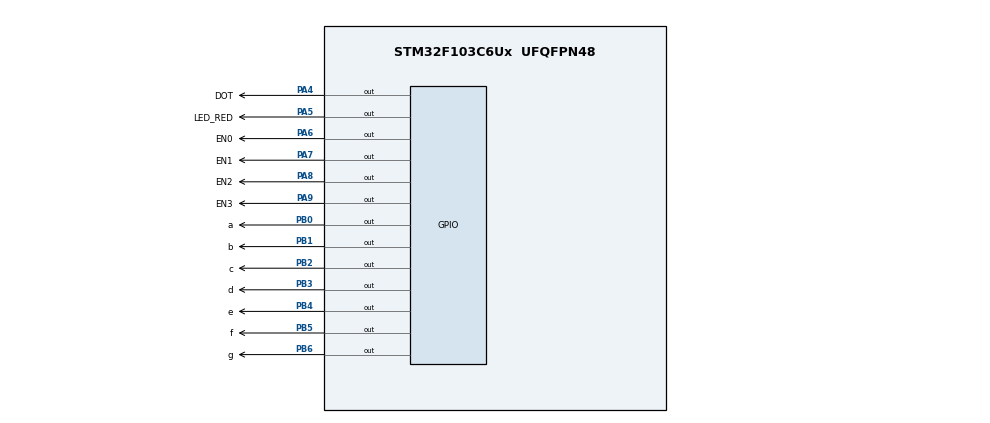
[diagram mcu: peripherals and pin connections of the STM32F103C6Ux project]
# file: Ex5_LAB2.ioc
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Mcu.Family=STM32F1
Mcu.Name=STM32F103C6Ux
Mcu.Package=UFQFPN48
NVIC.PriorityGroup=NVIC_PRIORITYGROUP_4
NVIC.TIM2_IRQn=true\:0\:0\:false\:false\:true\:true\:true
PA4.GPIO_Label=DOT
PA4.PinState=GPIO_PIN_SET
PA4.Signal=GPIO_Output
PA5.GPIO_Label=LED_RED
PA5.Signal=GPIO_Output
PA6.GPIO_Label=EN0
PA6.Signal=GPIO_Output
PA7.GPIO_Label=EN1
PA7.Signal=GPIO_Output
PA8.GPIO_Label=EN2
PA8.Signal=GPIO_Output
PA9.GPIO_Label=EN3
PA9.Signal=GPIO_Output
PB0.GPIO_Label=a
PB0.Signal=GPIO_Output
PB1.GPIO_Label=b
PB1.Signal=GPIO_Output
PB2.GPIO_Label=c
PB2.Signal=GPIO_Output
PB3.GPIO_Label=d
PB3.Signal=GPIO_Output
PB4.GPIO_Label=e
PB4.Signal=GPIO_Output
PB5.GPIO_Label=f
PB5.Signal=GPIO_Output
PB6.GPIO_Label=g
PB6.Signal=GPIO_Output
ProjectManager.HeapSize=0x200
ProjectManager.StackSize=0x400
ProjectManager.TargetToolchain=STM32CubeIDE
RCC.APB1Freq_Value=8000000
RCC.APB2Freq_Value=8000000
TIM2.Period=9
TIM2.Prescaler=7999
VP_SYS_VS_ND.Mode=No_Debug
VP_TIM2_VS_ClockSourceINT.Mode=Internal
board=custom

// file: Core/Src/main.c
/* USER CODE BEGIN Header */
/**
  ******************************************************************************
  * @file           : main.c
  * @brief          : Main program body
  ******************************************************************************
  * @attention
  *
  * <h2><center>&copy; Copyright (c) 2022 STMicroelectronics.
  * All rights reserved.</center></h2>
  *
  * This software component is licensed by ST under BSD 3-Clause license,
  * the "License"; You may not use this file except in compliance with the
  * License. You may obtain a copy of the License at:
  *                        opensource.org/licenses/BSD-3-Clause
  *
  ******************************************************************************
  */
/* USER CODE END Header */
#include "main.h"

/* USER CODE BEGIN Includes */
#include "software_timer.h"
/* USER CODE END Includes */

/* USER CODE BEGIN PD */
#define setCounterDot 100
#define setCounter 50
#define MAX_LED 4
/* USER CODE END PD */

TIM_HandleTypeDef htim2;

void SystemClock_Config(void);
static void MX_GPIO_Init(void);
static void MX_TIM2_Init(void);

/* USER CODE BEGIN 0 */

static uint8_t led_buffer[MAX_LED] = {0, 0, 0, 0};
static uint8_t index_led = 0;
void updateClockBuffer(int hr, int min){
	led_buffer[0] = hr/10;
	led_buffer[1] = hr%10;
	led_buffer[2] = min/10;
	led_buffer[3] = min%10;
}

//Transfer sequence: gfedcba
//MSB=g, LSB=a <- Active low
//Ex: To display 0 -> sequence = 1000000
const uint8_t sevenSegTable[10] = {
		  0x40 //0
		, 0x79 //1
		, 0x24 //2
		, 0x30 //3
		, 0x19 //4
		, 0x12 //5
		, 0x02 //6
		, 0x78 //7
		, 0x00 //8
		, 0x10 /*9*/};

void display7SEG (int num){
	HAL_GPIO_WritePin(GPIOB, GPIO_PIN_0, ((sevenSegTable[num]>>0)&0x01));
	HAL_GPIO_WritePin(GPIOB, GPIO_PIN_1, ((sevenSegTable[num]>>1)&0x01));
	HAL_GPIO_WritePin(GPIOB, GPIO_PIN_2, ((sevenSegTable[num]>>2)&0x01));
	HAL_GPIO_WritePin(GPIOB, GPIO_PIN_3, ((sevenSegTable[num]>>3)&0x01));
	HAL_GPIO_WritePin(GPIOB, GPIO_PIN_4, ((sevenSegTable[num]>>4)&0x01));
	HAL_GPIO_WritePin(GPIOB, GPIO_PIN_5, ((sevenSegTable[num]>>5)&0x01));
	HAL_GPIO_WritePin(GPIOB, GPIO_PIN_6, ((sevenSegTable[num]>>6)&0x01));
}

void update7SEG (int index){
	switch (index){
		case 0:
			HAL_GPIO_WritePin(EN0_GPIO_Port, EN0_Pin, RESET);
			HAL_GPIO_WritePin(EN1_GPIO_Port, EN1_Pin, SET);
			HAL_GPIO_WritePin(EN2_GPIO_Port, EN2_Pin, SET);
			HAL_GPIO_WritePin(EN3_GPIO_Port, EN3_Pin, SET);
			break;
		case 1:
			HAL_GPIO_WritePin(EN0_GPIO_Port, EN0_Pin, SET);
			HAL_GPIO_WritePin(EN1_GPIO_Port, EN1_Pin, RESET);
			HAL_GPIO_WritePin(EN2_GPIO_Port, EN2_Pin, SET);
			HAL_GPIO_WritePin(EN3_GPIO_Port, EN3_Pin, SET);
			break;
		case 2:
			HAL_GPIO_WritePin(EN0_GPIO_Port, EN0_Pin, SET);
			HAL_GPIO_WritePin(EN1_GPIO_Port, EN1_Pin, SET);
			HAL_GPIO_WritePin(EN2_GPIO_Port, EN2_Pin, RESET);
			HAL_GPIO_WritePin(EN3_GPIO_Port, EN3_Pin, SET);
			break;
		case 3:
			HAL_GPIO_WritePin(EN0_GPIO_Port, EN0_Pin, SET);
			HAL_GPIO_WritePin(EN1_GPIO_Port, EN1_Pin, SET);
			HAL_GPIO_WritePin(EN2_GPIO_Port, EN2_Pin, SET);
			HAL_GPIO_WritePin(EN3_GPIO_Port, EN3_Pin, RESET);
			break;
		default:
			break;
	}
	display7SEG(led_buffer[index]);
}

//static uint16_t counter = setCounter;
//static uint16_t counterDot = setCounterDot;

/* Ex5 */
/*void systemRun(void){
	counter--;
	counterDot--;
	if (counter <= 0){
		counter = setCounter;
		HAL_GPIO_TogglePin(LED_RED_GPIO_Port, LED_RED_Pin);
		update7SEG(index_led);
		index_led = (index_led + 1) % MAX_LED;
	}
	if (counterDot <= 0){
		counterDot = setCounterDot;
		HAL_GPIO_TogglePin(DOT_GPIO_Port, DOT_Pin);
	}
}*/

/* Ex7 */
/*void systemRun(void){
	counter--;
	if (counter <= 0){
		counter = setCounter;
		HAL_GPIO_TogglePin(LED_RED_GPIO_Port, LED_RED_Pin);
		update7SEG(index_led);
		index_led = (index_led + 1) % MAX_LED;
	}
}*/
/* USER CODE END 0 */

int main(void)
{

  /* MCU Configuration--------------------------------------------------------*/

  /* Reset of all peripherals, Initializes the Flash interface and the Systick. */
  HAL_Init();

  /* Configure the system clock */
  SystemClock_Config();

  /* Initialize all configured peripherals */
  MX_GPIO_Init();
  MX_TIM2_Init();
  /* USER CODE BEGIN 2 */
  HAL_TIM_Base_Start_IT (& htim2 ) ;
  /* USER CODE END 2 */

  /* Infinite loop */
  /* USER CODE BEGIN WHILE */
  int hr = 21, min=31, sec = 56;
  updateClockBuffer(hr, min);
  setTimer1(setCounterDot);
  setTimer2(setCounter);
  setTimer3(setCounterDot);
  while (1)
  {
	if (timer1_flag == 1){
	  	sec++;
		if (sec >= 60){sec = 0; min++;}
		if (min >= 60){min = 0; hr++;}
		if (hr >= 24) {hr = 0;}
		updateClockBuffer(hr, min);
		setTimer1(setCounterDot);
		//Ex5
		//HAL_Delay(1000);
	}

	//Ex8
	if (timer2_flag == 1){
		HAL_GPIO_TogglePin(LED_RED_GPIO_Port, LED_RED_Pin);
		update7SEG(index_led);
		index_led = (index_led + 1) % MAX_LED;
		setTimer2(setCounter);
	}

	//Ex7
	if (timer3_flag == 1){
		HAL_GPIO_TogglePin(DOT_GPIO_Port,DOT_Pin);
		setTimer3(setCounterDot);
	}
    /* USER CODE END WHILE */

  }
}

void SystemClock_Config(void)
{
  RCC_OscInitTypeDef RCC_OscInitStruct = {0};
  RCC_ClkInitTypeDef RCC_ClkInitStruct = {0};

  /** Initializes the RCC Oscillators according to the specified parameters
  * in the RCC_OscInitTypeDef structure.
  */
  RCC_OscInitStruct.OscillatorType = RCC_OSCILLATORTYPE_HSI;
  RCC_OscInitStruct.HSIState = RCC_HSI_ON;
  RCC_OscInitStruct.HSICalibrationValue = RCC_HSICALIBRATION_DEFAULT;
  RCC_OscInitStruct.PLL.PLLState = RCC_PLL_NONE;
  if (HAL_RCC_OscConfig(&RCC_OscInitStruct) != HAL_OK)
  {
    Error_Handler();
  }
  /** Initializes the CPU, AHB and APB buses clocks
  */
  RCC_ClkInitStruct.ClockType = RCC_CLOCKTYPE_HCLK|RCC_CLOCKTYPE_SYSCLK
                              |RCC_CLOCKTYPE_PCLK1|RCC_CLOCKTYPE_PCLK2;
  RCC_ClkInitStruct.SYSCLKSource = RCC_SYSCLKSOURCE_HSI;
  RCC_ClkInitStruct.AHBCLKDivider = RCC_SYSCLK_DIV1;
  RCC_ClkInitStruct.APB1CLKDivider = RCC_HCLK_DIV1;
  RCC_ClkInitStruct.APB2CLKDivider = RCC_HCLK_DIV1;

  if (HAL_RCC_ClockConfig(&RCC_ClkInitStruct, FLASH_LATENCY_0) != HAL_OK)
  {
    Error_Handler();
  }
}

static void MX_TIM2_Init(void)
{

  TIM_ClockConfigTypeDef sClockSourceConfig = {0};
  TIM_MasterConfigTypeDef sMasterConfig = {0};

  htim2.Instance = TIM2;
  htim2.Init.Prescaler = 7999;
  htim2.Init.CounterMode = TIM_COUNTERMODE_UP;
  htim2.Init.Period = 9;
  htim2.Init.ClockDivision = TIM_CLOCKDIVISION_DIV1;
  htim2.Init.AutoReloadPreload = TIM_AUTORELOAD_PRELOAD_DISABLE;
  if (HAL_TIM_Base_Init(&htim2) != HAL_OK)
  {
    Error_Handler();
  }
  sClockSourceConfig.ClockSource = TIM_CLOCKSOURCE_INTERNAL;
  if (HAL_TIM_ConfigClockSource(&htim2, &sClockSourceConfig) != HAL_OK)
  {
    Error_Handler();
  }
  sMasterConfig.MasterOutputTrigger = TIM_TRGO_RESET;
  sMasterConfig.MasterSlaveMode = TIM_MASTERSLAVEMODE_DISABLE;
  if (HAL_TIMEx_MasterConfigSynchronization(&htim2, &sMasterConfig) != HAL_OK)
  {
    Error_Handler();
  }

}

static void MX_GPIO_Init(void)
{
  GPIO_InitTypeDef GPIO_InitStruct = {0};

  /* GPIO Ports Clock Enable */
  __HAL_RCC_GPIOA_CLK_ENABLE();
  __HAL_RCC_GPIOB_CLK_ENABLE();

  /*Configure GPIO pin Output Level */
  HAL_GPIO_WritePin(DOT_GPIO_Port, DOT_Pin, GPIO_PIN_SET);

  /*Configure GPIO pin Output Level */
  HAL_GPIO_WritePin(GPIOA, LED_RED_Pin|EN0_Pin|EN1_Pin|EN2_Pin
                          |EN3_Pin, GPIO_PIN_RESET);

  /*Configure GPIO pin Output Level */
  HAL_GPIO_WritePin(GPIOB, a_Pin|b_Pin|c_Pin|d_Pin
                          |e_Pin|f_Pin|g_Pin, GPIO_PIN_RESET);

  /*Configure GPIO pins : DOT_Pin LED_RED_Pin EN0_Pin EN1_Pin
                           EN2_Pin EN3_Pin */
  GPIO_InitStruct.Pin = DOT_Pin|LED_RED_Pin|EN0_Pin|EN1_Pin
                          |EN2_Pin|EN3_Pin;
  GPIO_InitStruct.Mode = GPIO_MODE_OUTPUT_PP;
  GPIO_InitStruct.Pull = GPIO_NOPULL;
  GPIO_InitStruct.Speed = GPIO_SPEED_FREQ_LOW;
  HAL_GPIO_Init(GPIOA, &GPIO_InitStruct);

  /*Configure GPIO pins : a_Pin b_Pin c_Pin d_Pin
                           e_Pin f_Pin g_Pin */
  GPIO_InitStruct.Pin = a_Pin|b_Pin|c_Pin|d_Pin
                          |e_Pin|f_Pin|g_Pin;
  GPIO_InitStruct.Mode = GPIO_MODE_OUTPUT_PP;
  GPIO_InitStruct.Pull = GPIO_NOPULL;
  GPIO_InitStruct.Speed = GPIO_SPEED_FREQ_LOW;
  HAL_GPIO_Init(GPIOB, &GPIO_InitStruct);

}

/* USER CODE BEGIN 4 */

void HAL_TIM_PeriodElapsedCallback ( TIM_HandleTypeDef * htim )
{
	timerRun();			// For ex7 & ex8
	//systemRun(); 		// For ex5 & ex7
}
/* USER CODE END 4 */

void Error_Handler(void)
{
  __disable_irq();
  while (1)
  {
  }
}

/************************ (C) COPYRIGHT STMicroelectronics *****END OF FILE****/
